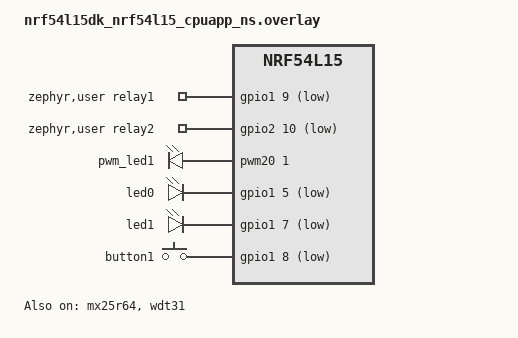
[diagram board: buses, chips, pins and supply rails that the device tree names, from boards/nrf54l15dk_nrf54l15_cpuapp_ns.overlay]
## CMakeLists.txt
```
#
# Copyright (c) 2021 Nordic Semiconductor ASA
#
# SPDX-License-Identifier: LicenseRef-Nordic-5-Clause
#

cmake_minimum_required(VERSION 3.20.0)

find_package(Zephyr HINTS $ENV{ZEPHYR_BASE})

project(matter-light-bulb)

# Enable GNU STD support.
include(${ZEPHYR_CONNECTEDHOMEIP_MODULE_DIR}/config/nrfconnect/app/enable-gnu-std.cmake)

# NORDIC SDK APP START

# Include all source files that are located in the Matter common directory.
include(${ZEPHYR_NRF_MODULE_DIR}/samples/matter/common/cmake/source_common.cmake)

# Include Data Model utils
include(${ZEPHYR_NRF_MODULE_DIR}/samples/matter/common/cmake/data_model.cmake)

include(${ZEPHYR_NRF_MODULE_DIR}/samples/matter/common/cmake/zap_helpers.cmake)
ncs_get_zap_parent_dir(ZAP_PARENT_DIR)

target_include_directories(app PRIVATE
    src
    ${ZAP_PARENT_DIR}
)

if(CONFIG_AWS_IOT_INTEGRATION)
    add_subdirectory(src/aws_iot_integration)
endif()

target_sources(app PRIVATE
    src/io_relay.cpp
    src/app_task.cpp
    src/main.cpp
    src/zcl_callbacks.cpp
    ${CHIP_ROOT}/src/app/util/persistence/DeferredAttributePersistenceProvider.cpp
)

if(CONFIG_APP_NETWORK_WATCHDOG)
    target_sources(app PRIVATE src/network_watchdog.cpp)
endif()

ncs_configure_data_model()
# NORDIC SDK APP END
```

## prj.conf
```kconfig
#
# Copyright (c) 2022 Nordic Semiconductor ASA
#
# SPDX-License-Identifier: LicenseRef-Nordic-5-Clause
#

# Enable CHIP
CONFIG_CHIP=y
CONFIG_CHIP_PROJECT_CONFIG="src/chip_project_config.h"

# Configure ZAP file name
CONFIG_NCS_SAMPLE_MATTER_ZAP_FILE_PATH="${APPLICATION_CONFIG_DIR}/src/default_zap/light_bulb.zap"

# 32772 == 0x8004 (lighting-app)
CONFIG_CHIP_DEVICE_PRODUCT_ID=32772
CONFIG_STD_CPP17=y

# Enable Matter pairing automatically on application start.
CONFIG_CHIP_ENABLE_PAIRING_AUTOSTART=y

# Enable Matter extended announcement and increase duration to 1 hour.
CONFIG_CHIP_BLE_EXT_ADVERTISING=y
CONFIG_CHIP_BLE_ADVERTISING_DURATION=60

# Add support for LEDs and buttons on Nordic development kits
CONFIG_DK_LIBRARY=y
CONFIG_PWM=n

# Enable logging for DK library (to see "Initializing LEDs" debug output)
CONFIG_LOG=y
CONFIG_DK_LIBRARY_LOG_LEVEL_INF=y

# Bluetooth Low Energy configuration
CONFIG_BT_DEVICE_NAME="MatterLight"

# Other settings
CONFIG_THREAD_NAME=y
CONFIG_MPU_STACK_GUARD=y
CONFIG_RESET_ON_FATAL_ERROR=n
CONFIG_CHIP_LIB_SHELL=y
CONFIG_NCS_SAMPLE_MATTER_TEST_SHELL=y

# Reduce application size
CONFIG_USE_SEGGER_RTT=n

# Enable Factory Data feature
CONFIG_CHIP_FACTORY_DATA=y
CONFIG_CHIP_FACTORY_DATA_BUILD=y

# Disable APPROTECT for development
CONFIG_NRF_APPROTECT_USE_UICR=n
# CONFIG_NRF_APPROTECT_LOCK is not set

CONFIG_CLOCK_CONTROL_NRF_K32SRC_RC=y

# Hardware watchdog: reset if Main/Matter threads hang or loop forever
CONFIG_NCS_SAMPLE_MATTER_WATCHDOG=y

# Software watchdog: reboot if commissioned device stays offline too long
CONFIG_APP_NETWORK_WATCHDOG=y
```

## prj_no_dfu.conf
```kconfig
#
# Copyright (c) 2022 Nordic Semiconductor ASA
#
# SPDX-License-Identifier: LicenseRef-Nordic-5-Clause
#

# Enable CHIP
CONFIG_CHIP=y
CONFIG_CHIP_PROJECT_CONFIG="src/chip_project_config.h"

# Configure ZAP file name
CONFIG_NCS_SAMPLE_MATTER_ZAP_FILE_PATH="${APPLICATION_CONFIG_DIR}/src/default_zap/light_bulb.zap"

# 32773 == 0x8005 (example lighting-app)
CONFIG_CHIP_DEVICE_PRODUCT_ID=32773
CONFIG_STD_CPP17=y

# Enable Matter pairing automatically on application start.
CONFIG_CHIP_ENABLE_PAIRING_AUTOSTART=y

# Enable Matter extended announcement and increase duration to 1 hour.
CONFIG_CHIP_BLE_EXT_ADVERTISING=y
CONFIG_CHIP_BLE_ADVERTISING_DURATION=60

# Add support for LEDs and buttons on Nordic development kits
CONFIG_DK_LIBRARY=y
CONFIG_PWM=y

# Bluetooth Low Energy configuration
CONFIG_BT_DEVICE_NAME="MatterLight"

# Other settings
CONFIG_THREAD_NAME=y
CONFIG_MPU_STACK_GUARD=y
CONFIG_RESET_ON_FATAL_ERROR=n
CONFIG_CHIP_LIB_SHELL=y
CONFIG_NCS_SAMPLE_MATTER_TEST_SHELL=y

# Reduce application size
CONFIG_USE_SEGGER_RTT=n

# Enable Factory Data feature
CONFIG_CHIP_FACTORY_DATA=y
CONFIG_CHIP_FACTORY_DATA_BUILD=y

# Disable Matter OTA DFU
CONFIG_CHIP_OTA_REQUESTOR=n

# Disable QSPI NOR
CONFIG_CHIP_QSPI_NOR=n

# Reduce application size
CONFIG_USE_SEGGER_RTT=n
CONFIG_CLOCK_CONTROL_NRF_K32SRC_RC=n

# Disable APPROTECT for development
CONFIG_NRF_APPROTECT_USE_UICR=n
# CONFIG_NRF_APPROTECT_LOCK is not set
```

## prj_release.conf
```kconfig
#
# Copyright (c) 2022 Nordic Semiconductor ASA
#
# SPDX-License-Identifier: LicenseRef-Nordic-5-Clause
#

# Enable CHIP
CONFIG_CHIP=y
CONFIG_CHIP_PROJECT_CONFIG="src/chip_project_config.h"

# Configure ZAP file name
CONFIG_NCS_SAMPLE_MATTER_ZAP_FILE_PATH="${APPLICATION_CONFIG_DIR}/src/default_zap/light_bulb.zap"

# 32773 == 0x8005 (example lighting-app)
CONFIG_CHIP_DEVICE_PRODUCT_ID=32773
CONFIG_STD_CPP17=y

# Enable Matter pairing automatically on application start.
CONFIG_CHIP_ENABLE_PAIRING_AUTOSTART=y

# Enable Matter extended announcement and increase duration to 1 hour.
CONFIG_CHIP_BLE_EXT_ADVERTISING=y
CONFIG_CHIP_BLE_ADVERTISING_DURATION=60

# Add support for LEDs and buttons on Nordic development kits
CONFIG_DK_LIBRARY=y
CONFIG_PWM=y

# Bluetooth Low Energy configuration
CONFIG_BT_DEVICE_NAME="MatterLight"

# Enable system reset on fatal error
CONFIG_RESET_ON_FATAL_ERROR=y

# Disable all debug features
CONFIG_USE_SEGGER_RTT=n
CONFIG_SHELL=n
CONFIG_OPENTHREAD_SHELL=n
CONFIG_CONSOLE=n
CONFIG_UART_CONSOLE=n
CONFIG_SERIAL=n
CONFIG_LOG=n
CONFIG_LOG_MODE_MINIMAL=n
CONFIG_ASSERT_VERBOSE=n
CONFIG_ASSERT_NO_FILE_INFO=y
CONFIG_PRINTK=n
CONFIG_PRINTK_SYNC=n
CONFIG_THREAD_NAME=n
CONFIG_BOOT_BANNER=n

# Enable Factory Data feature
CONFIG_CHIP_FACTORY_DATA=y
CONFIG_CHIP_FACTORY_DATA_BUILD=y

# Hardware watchdog: reset if Main/Matter threads hang or loop forever
CONFIG_NCS_SAMPLE_MATTER_WATCHDOG=y

# Software watchdog: reboot if commissioned device stays offline too long
CONFIG_APP_NETWORK_WATCHDOG=y

# Enable LTO to decrease the flash usage.
CONFIG_LTO=y
CONFIG_ISR_TABLES_LOCAL_DECLARATION=y
```

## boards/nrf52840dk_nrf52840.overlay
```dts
/*
 * Copyright (c) 2021-2022 Nordic Semiconductor ASA
 *
 * SPDX-License-Identifier: LicenseRef-Nordic-5-Clause
 */

/ {
	chosen {
		nordic,pm-ext-flash = &mx25r64;
	};

		/*
	* In some default configurations within the nRF Connect SDK,
	* e.g. on nRF52840, the chosen zephyr,entropy node is &cryptocell.
	* This devicetree overlay ensures that default is overridden wherever it
	* is set, as this application uses the RNG node for entropy exclusively.
	*/

	chosen {
		zephyr,entropy = &rng;
	};


	/*
	* By default, PWM module is only configured for led0 (LED1 on the board).
	* The light bulb app, however, uses LED2 to show the state of the lighting,
	* including its brightness level.
	*/
	aliases {
		pwm-led1 = &pwm_led1;
	};

	/* Relay control pins - use zephyr,user node for custom GPIO configuration */
	zephyr,user {
		relay1-gpios = <&gpio0 22 GPIO_ACTIVE_HIGH>;
		relay2-gpios = <&gpio0 24 GPIO_ACTIVE_HIGH>;
	};

	pwmleds {
		pwm_led1: pwm_led_1 {
			pwms = <&pwm0 1 PWM_MSEC(100) PWM_POLARITY_NORMAL>;
		};
	};

};

&pwm0 {
	pinctrl-0 = <&pwm0_default_alt>;
	pinctrl-1 = <&pwm0_sleep_alt>;
	pinctrl-names = "default", "sleep";
};

&pinctrl {
	pwm0_default_alt: pwm0_default_alt {
		group1 {
			psels = <NRF_PSEL(PWM_OUT1, 0, 6)>;
			nordic,invert;
		};
	};

	pwm0_sleep_alt: pwm0_sleep_alt {
		group1 {
			psels = <NRF_PSEL(PWM_OUT1, 0, 6)>;
			low-power-enable;
		};
	};

};

/* Disable unused peripherals to reduce power consumption */
&adc {
	status = "disabled";
};
&uart1 {
	status = "disabled";
};
&i2c0 {
	status = "disabled";
};
&spi1 {
	status = "disabled";
};
&spi3 {
	status = "disabled";
};
&usbd {
	status = "disabled";
};

&uart0 {
	current-speed = <115200>;
};

&led0 {
	gpios = <&gpio1 6 GPIO_ACTIVE_LOW>;
};
&led1 {
	gpios = <&gpio0 6 GPIO_ACTIVE_LOW>;
};
/* Disable led2 and led3 since they are now used as relay control pins */
&led2 {
	status = "disabled";
};

&led3 {
	status = "disabled";
};

&button0 {
	gpios = <&gpio1 4 GPIO_ACTIVE_LOW>;
	status = "okay";
};
```

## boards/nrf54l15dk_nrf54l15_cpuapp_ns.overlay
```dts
/*
 * Copyright (c) 2024 Nordic Semiconductor ASA
 *
 * SPDX-License-Identifier: LicenseRef-Nordic-5-Clause
 */

 / {
	aliases {
		// Configure PWM module for led1 (LED2 on the board)
		pwm-led1 = &pwm_led1;

		// Use watchdog wdt31 as the application watchdog
		watchdog0 = &wdt31;
	};

	chosen {
		nordic,pm-ext-flash = &mx25r64;
	};

	/* Relay control pins - use zephyr,user node for custom GPIO configuration */
	zephyr,user {
		relay1-gpios = <&gpio1 9 GPIO_ACTIVE_LOW>;
		relay2-gpios = <&gpio2 10 GPIO_ACTIVE_LOW>;
	};

	pwmleds {
		compatible = "pwm-leds";
		pwm_led1: pwm_led_1 {
			pwms = <&pwm20 1 PWM_MSEC(20) PWM_POLARITY_NORMAL>;
		};
	};
};

// restore full RRAM and SRAM space - by default some parts are dedicated to FLRP
&cpuapp_rram {
	reg = <0x0 DT_SIZE_K(1524)>;
};

&cpuapp_sram {
	reg = <0x20000000 DT_SIZE_K(256)>;
	ranges = <0x0 0x20000000  0x40000>;
};

// TODO: re-enable HWFC once it's fixed
&uart20 {
	/delete-property/ hw-flow-control;
};

&mx25r64 {
	status = "okay";
};

&pwm20 {
	status = "disabled";
	pinctrl-0 = <&pwm_default>;
	pinctrl-1 = <&pwm_sleep>;
	pinctrl-names = "default", "sleep";
};

&pinctrl {
	pwm_default: pwm_default {
		group1 {
			psels = <NRF_PSEL(PWM_OUT1, 1, 10)>;
		};
	};
	pwm_sleep: pwm_sleep {
		group1 {
			psels = <NRF_PSEL(PWM_OUT1, 1, 10)>;
			low-power-enable;
		};
	};

	uart20_default: uart20_default {
		group1 {
			psels = <NRF_PSEL(UART_TX, 1, 4)>;
		};

		group2 {
			psels = <NRF_PSEL(UART_RX, 1, 5)>;
			bias-pull-up;
		};
	};

	uart20_sleep: uart20_sleep {
		group1 {
			psels = <NRF_PSEL(UART_TX, 1, 4)>,
				<NRF_PSEL(UART_RX, 1, 5)>;
			low-power-enable;
		};
	};
};

&wdt31 {
	status = "okay";
};

// Change IRQ ids to handle button interrupts.

// The default values for nRF54L15 are 219 and 269,
// but with TF-M they are reserved for the secure domain
// (218 and 268 are reserved for the non-secure domain).
&gpiote20 {
	interrupts = <218 NRF_DEFAULT_IRQ_PRIORITY>;
};

&gpiote30 {
	interrupts = <268 NRF_DEFAULT_IRQ_PRIORITY>;
};

&clock {
	status = "okay";
};


&led0 {
	gpios = <&gpio1 5 GPIO_ACTIVE_LOW>;
};
&led1 {
	gpios = <&gpio1 7 GPIO_ACTIVE_LOW>;
};
/* Disable led2 and led3 since they are now used as relay control pins */
&led2 {
	status = "disabled";
};

&led3 {
	status = "disabled";
};

&button1 {
	gpios = <&gpio1 8 GPIO_ACTIVE_LOW>;
	status = "okay";
};

&button2{
	status = "disabled";
};

&button3 {
	status = "disabled";
};
```

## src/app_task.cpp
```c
/*
 * Copyright (c) 2021 Nordic Semiconductor ASA
 *
 * SPDX-License-Identifier: LicenseRef-Nordic-5-Clause
 */

#include "app_task.h"

#ifdef CONFIG_AWS_IOT_INTEGRATION
#include "aws_iot_integration.h"
#endif

#include "app/matter_init.h"
#include "app/task_executor.h"

#if defined(CONFIG_PWM)
#include "pwm/pwm_device.h"
#endif

#include <app-common/zap-generated/attributes/Accessors.h>
#include <app/clusters/identify-server/identify-server.h>
#include <app/server/Server.h>
#include <app/util/persistence/DefaultAttributePersistenceProvider.h>
#include <app/util/persistence/DeferredAttributePersistenceProvider.h>
#include <setup_payload/OnboardingCodesUtil.h>

#include <zephyr/logging/log.h>

LOG_MODULE_DECLARE(app, CONFIG_CHIP_APP_LOG_LEVEL);

using namespace ::chip;
using namespace ::chip::app;
using namespace ::chip::DeviceLayer;

namespace
{
constexpr EndpointId kLightEndpointId = 1;
constexpr uint8_t kDefaultMinLevel = 0;
constexpr uint8_t kDefaultMaxLevel = 254;
constexpr uint16_t kTriggerEffectTimeout = 5000;
constexpr uint16_t kTriggerEffectFinishTimeout = 1000;

k_timer sTriggerEffectTimer;

Identify sIdentify = { kLightEndpointId, AppTask::IdentifyStartHandler, AppTask::IdentifyStopHandler,
		       Clusters::Identify::IdentifyTypeEnum::kVisibleIndicator, AppTask::TriggerIdentifyEffectHandler };

bool sIsTriggerEffectActive = false;

#if defined(CONFIG_PWM)
const struct pwm_dt_spec sLightPwmDevice = PWM_DT_SPEC_GET(DT_ALIAS(pwm_led1));
#endif

// Define a custom attribute persister which makes actual write of the CurrentLevel attribute value
// to the non-volatile storage only when it has remained constant for 5 seconds. This is to reduce
// the flash wearout when the attribute changes frequently as a result of MoveToLevel command.
// DeferredAttribute object describes a deferred attribute, but also holds a buffer with a value to
// be written, so it must live so long as the DeferredAttributePersistenceProvider object.
DeferredAttribute gCurrentLevelPersister(ConcreteAttributePath(kLightEndpointId, Clusters::LevelControl::Id,
							       Clusters::LevelControl::Attributes::CurrentLevel::Id));

// Deferred persistence will be auto-initialized as soon as the default persistence is initialized
DefaultAttributePersistenceProvider gSimpleAttributePersistence;
DeferredAttributePersistenceProvider gDeferredAttributePersister(gSimpleAttributePersistence,
								 Span<DeferredAttribute>(&gCurrentLevelPersister, 1),
								 System::Clock::Milliseconds32(5000));

#define APPLICATION_BUTTON_MASK DK_BTN2_MSK
} /* namespace */

void AppTask::IdentifyStartHandler(Identify *)
{
	Nrf::PostTask(
		[] { Nrf::GetBoard().GetLED(Nrf::DeviceLeds::LED2).Blink(Nrf::LedConsts::kIdentifyBlinkRate_ms); });
}

void AppTask::IdentifyStopHandler(Identify *)
{
	Nrf::PostTask([] {
		Nrf::GetBoard().GetLED(Nrf::DeviceLeds::LED2).Set(false);

#if defined(CONFIG_PWM)
		Instance().mPWMDevice.ApplyLevel();
#endif
	});
}

void AppTask::TriggerEffectTimerTimeoutCallback(k_timer *timer)
{
	LOG_INF("Identify effect completed");

	sIsTriggerEffectActive = false;

	Nrf::GetBoard().GetLED(Nrf::DeviceLeds::LED2).Set(false);

#if defined(CONFIG_PWM)
	Instance().mPWMDevice.ApplyLevel();
#endif
}

void AppTask::TriggerIdentifyEffectHandler(Identify *identify)
{
	switch (identify->mCurrentEffectIdentifier) {
	/* Just handle all effects in the same way. */
	case Clusters::Identify::EffectIdentifierEnum::kBlink:
	case Clusters::Identify::EffectIdentifierEnum::kBreathe:
	case Clusters::Identify::EffectIdentifierEnum::kOkay:
	case Clusters::Identify::EffectIdentifierEnum::kChannelChange:
		LOG_INF("Identify effect identifier changed to %d",
			static_cast<uint8_t>(identify->mCurrentEffectIdentifier));

		sIsTriggerEffectActive = false;

		k_timer_stop(&sTriggerEffectTimer);
		k_timer_start(&sTriggerEffectTimer, K_MSEC(kTriggerEffectTimeout), K_NO_WAIT);

#if defined(CONFIG_PWM)
		Instance().mPWMDevice.SuppressOutput();
#endif
		Nrf::GetBoard().GetLED(Nrf::DeviceLeds::LED2).Blink(Nrf::LedConsts::kIdentifyBlinkRate_ms);

		break;
	case Clusters::Identify::EffectIdentifierEnum::kFinishEffect:
		LOG_INF("Identify effect finish triggered");
		k_timer_stop(&sTriggerEffectTimer);
		k_timer_start(&sTriggerEffectTimer, K_MSEC(kTriggerEffectFinishTimeout), K_NO_WAIT);
		break;
	case Clusters::Identify::EffectIdentifierEnum::kStopEffect:
		if (sIsTriggerEffectActive) {
			sIsTriggerEffectActive = false;

			k_timer_stop(&sTriggerEffectTimer);

			Nrf::GetBoard().GetLED(Nrf::DeviceLeds::LED2).Set(false);

#if defined(CONFIG_PWM)
			Instance().mPWMDevice.ApplyLevel();
#endif
		}
		break;
	default:
		LOG_ERR("Received invalid effect identifier.");
		break;
	}
}

void AppTask::LightingActionEventHandler(const LightingEvent &event)
{
#if defined(CONFIG_PWM)
	Nrf::PWMDevice::Action_t action = Nrf::PWMDevice::INVALID_ACTION;
	int32_t actor = 0;
	if (event.Actor == LightingActor::Button) {
		action = Instance().mPWMDevice.IsTurnedOn() ? Nrf::PWMDevice::OFF_ACTION : Nrf::PWMDevice::ON_ACTION;
		actor = static_cast<int32_t>(event.Actor);
	}

	if (action == Nrf::PWMDevice::INVALID_ACTION || !Instance().mPWMDevice.InitiateAction(action, actor, NULL)) {
		LOG_INF("An action could not be initiated.");
	}
#else
	IO_Relay::Action_t action = IO_Relay::INVALID_ACTION;
	int32_t actor = 0;
	if (event.Actor == LightingActor::Button) {
		action = Instance().mIO_RelayDevice.IsTurnedOn() ? IO_Relay::OFF_ACTION : IO_Relay::ON_ACTION;
		actor = static_cast<int32_t>(event.Actor);
	}

	if (action == IO_Relay::INVALID_ACTION || !Instance().mIO_RelayDevice.InitiateAction(action, actor, NULL)) {
		LOG_INF("An action could not be initiated.");
	}
#endif
}

void AppTask::ButtonEventHandler(Nrf::ButtonState state, Nrf::ButtonMask hasChanged)
{
	static int64_t buttonPressedTime = 0;

	// check if the button is pressed
	if ((APPLICATION_BUTTON_MASK & hasChanged) & state) {
		// record the time when the button is pressed
		buttonPressedTime = k_uptime_get();
	}
	// check if the button is released
	else if ((APPLICATION_BUTTON_MASK & hasChanged) & ~state) {
		int64_t now = k_uptime_get();
		if (buttonPressedTime > 0 && (now - buttonPressedTime) >= 5000) { // long press for more than 5 seconds, reset the factory
			LOG_INF("Factory Reset triggered by long button press");
			chip::Server::GetInstance().ScheduleFactoryReset();
		} else if (buttonPressedTime > 0) { // short press, toggle the light state
			Nrf::PostTask([] {
				LightingEvent event;
				event.Actor = LightingActor::Button;
				LightingActionEventHandler(event);
			});
		}
		buttonPressedTime = 0;
	}
}

#ifdef CONFIG_AWS_IOT_INTEGRATION
bool AppTask::AWSIntegrationCallback(struct aws_iot_integration_cb_data *data)
{
	LOG_INF("Attribute change requested from AWS IoT: %d", data->value);

	Protocols::InteractionModel::Status status;

	VerifyOrDie(data->error == 0);

	if (data->attribute_id == ATTRIBUTE_ID_ONOFF) {
		/* write the new on/off value */
		status = Clusters::OnOff::Attributes::OnOff::Set(kLightEndpointId, data->value);
		if (status != Protocols::InteractionModel::Status::Success) {
			LOG_ERR("Updating on/off cluster failed: %x", to_underlying(status));
			return false;
		}
	} else if (data->attribute_id == ATTRIBUTE_ID_LEVEL_CONTROL) {
		/* write the current level */
		status = Clusters::LevelControl::Attributes::CurrentLevel::Set(kLightEndpointId, data->value);

		if (status != Protocols::InteractionModel::Status::Success) {
			LOG_ERR("Updating level cluster failed: %x", to_underlying(status));
			return false;
		}
	}

	return true;
}
#endif /* CONFIG_AWS_IOT_INTEGRATION */

#if defined(CONFIG_PWM)
void AppTask::ActionInitiated(Nrf::PWMDevice::Action_t action, int32_t actor)
{
	if (action == Nrf::PWMDevice::ON_ACTION) {
		LOG_INF("Turn On Action has been initiated");
	} else if (action == Nrf::PWMDevice::OFF_ACTION) {
		LOG_INF("Turn Off Action has been initiated");
	} else if (action == Nrf::PWMDevice::LEVEL_ACTION) {
		LOG_INF("Level Action has been initiated");
	}
}

void AppTask::ActionCompleted(Nrf::PWMDevice::Action_t action, int32_t actor)
{
	if (action == Nrf::PWMDevice::ON_ACTION) {
		LOG_INF("Turn On Action has been completed");
	} else if (action == Nrf::PWMDevice::OFF_ACTION) {
		LOG_INF("Turn Off Action has been completed");
	} else if (action == Nrf::PWMDevice::LEVEL_ACTION) {
		LOG_INF("Level Action has been completed");
	}

	if (actor == static_cast<int32_t>(LightingActor::Button)) {
		Instance().UpdateClusterState();
	}
}
#endif /* CONFIG_PWM */

void AppTask::UpdateClusterState()
{
	SystemLayer().ScheduleLambda([this] {
#if defined(CONFIG_PWM)
		/* write the new on/off value */
		Protocols::InteractionModel::Status status =
			Clusters::OnOff::Attributes::OnOff::Set(kLightEndpointId, mPWMDevice.IsTurnedOn());
#else
		Protocols::InteractionModel::Status status =
		Clusters::OnOff::Attributes::OnOff::Set(kLightEndpointId, mIO_RelayDevice.IsTurnedOn());
#endif
		if (status != Protocols::InteractionModel::Status::Success) {
			LOG_ERR("Updating on/off cluster failed: %x", to_underlying(status));
		}

#if defined(CONFIG_PWM)
		/* write the current level */
		status = Clusters::LevelControl::Attributes::CurrentLevel::Set(kLightEndpointId, mPWMDevice.GetLevel());
#endif

		if (status != Protocols::InteractionModel::Status::Success) {
			LOG_ERR("Updating level cluster failed: %x", to_underlying(status));
		}
	});
}

void AppTask::InitPWMDDevice()
{
#if defined(CONFIG_PWM)
	/* Initialize lighting device (PWM) */
	uint8_t minLightLevel = kDefaultMinLevel;
	Clusters::LevelControl::Attributes::MinLevel::Get(kLightEndpointId, &minLightLevel);

	uint8_t maxLightLevel = kDefaultMaxLevel;
	Clusters::LevelControl::Attributes::MaxLevel::Get(kLightEndpointId, &maxLightLevel);

	Clusters::LevelControl::Attributes::CurrentLevel::TypeInfo::Type currentLevel;
	Clusters::LevelControl::Attributes::CurrentLevel::Get(kLightEndpointId, currentLevel);

	int ret =
		mPWMDevice.Init(&sLightPwmDevice, minLightLevel, maxLightLevel, currentLevel.ValueOr(kDefaultMaxLevel));
	if (ret != 0) {
		LOG_ERR("Failed to initialize PWD device.");
	}

	mPWMDevice.SetCallbacks(ActionInitiated, ActionCompleted);
#endif
}

CHIP_ERROR AppTask::Init()
{
	/* Initialize Matter stack */
	ReturnErrorOnFailure(Nrf::Matter::PrepareServer(Nrf::Matter::InitData{ .mPostServerInitClbk = []() {
		app::SetAttributePersistenceProvider(&gDeferredAttributePersister);
		gSimpleAttributePersistence.Init(Nrf::Matter::GetPersistentStorageDelegate());
		return CHIP_NO_ERROR;
	} }));

	if (!Nrf::GetBoard().Init(ButtonEventHandler)) {
		LOG_ERR("User interface initialization failed.");
		return CHIP_ERROR_INCORRECT_STATE;
	}

	/* Register Matter event handler that controls the connectivity status LED based on the captured Matter network
	 * state. */
	ReturnErrorOnFailure(Nrf::Matter::RegisterEventHandler(Nrf::Board::DefaultMatterEventHandler, 0));

#ifdef CONFIG_AWS_IOT_INTEGRATION
	int retAws = aws_iot_integration_register_callback(AWSIntegrationCallback);
	if (retAws) {
		LOG_ERR("aws_iot_integration_register_callback() failed");
		return chip::System::MapErrorZephyr(retAws);
	}
#endif

	/* Initialize trigger effect timer */
	k_timer_init(&sTriggerEffectTimer, &AppTask::TriggerEffectTimerTimeoutCallback, nullptr);

	return Nrf::Matter::StartServer();
}

CHIP_ERROR AppTask::StartApp()
{
	ReturnErrorOnFailure(Init());

	while (true) {
		Nrf::DispatchNextTask();
	}

	return CHIP_NO_ERROR;
}

BootReasonType AppTask::ResetReasonGet(void)
{
    BootReasonType bootReason;

    DiagnosticDataProviderImplNrf::GetDefaultInstance().GetBootReason(bootReason);


    return bootReason; 
}
```

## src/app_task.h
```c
/*
 * Copyright (c) 2021 Nordic Semiconductor ASA
 *
 * SPDX-License-Identifier: LicenseRef-Nordic-5-Clause
 */

#pragma once

#include "board/board.h"
#include "pwm/pwm_device.h"

#include <platform/CHIPDeviceLayer.h>
#include "io_relay.h"

#include <platform/DiagnosticDataProvider.h>
#include <platform/nrfconnect/DiagnosticDataProviderImplNrf.h>
#include <platform/Zephyr/DiagnosticDataProviderImpl.h>


struct k_timer;
struct Identify;

using BootReasonType = chip::DeviceLayer::BootReasonType;

enum class LightingActor : uint8_t { Remote, Button };

struct LightingEvent {
	uint8_t Action;
	LightingActor Actor;
};

class AppTask {
public:
	static AppTask &Instance()
	{
		static AppTask sAppTask;
		return sAppTask;
	};

	CHIP_ERROR StartApp();

	void UpdateClusterState();
	void InitPWMDDevice();
	Nrf::PWMDevice &GetPWMDevice() { return mPWMDevice; }
	IO_Relay &GetRelayDevice() { return mIO_RelayDevice; }
    BootReasonType ResetReasonGet(void);

	static void IdentifyStartHandler(Identify *);
	static void IdentifyStopHandler(Identify *);
	static void TriggerIdentifyEffectHandler(Identify *);
	static void TriggerEffectTimerTimeoutCallback(k_timer *timer);

private:
	CHIP_ERROR Init();

	static void LightingActionEventHandler(const LightingEvent &event);
	static void ButtonEventHandler(Nrf::ButtonState state, Nrf::ButtonMask hasChanged);

	static void ActionInitiated(Nrf::PWMDevice::Action_t action, int32_t actor);
	static void ActionCompleted(Nrf::PWMDevice::Action_t action, int32_t actor);

#ifdef CONFIG_AWS_IOT_INTEGRATION
	static bool AWSIntegrationCallback(struct aws_iot_integration_cb_data *data);
#endif
	IO_Relay mIO_RelayDevice;
	Nrf::PWMDevice mPWMDevice;
};
```

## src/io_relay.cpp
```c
/*
 * Copyright (c) 2018 Nordic Semiconductor ASA
 *
 * SPDX-License-Identifier: Apache-2.0
 */
#include <stdio.h>
#include <stdlib.h>
#include <ctype.h>

#ifdef CONFIG_ARCH_POSIX
#include <unistd.h>
#else
#include <zephyr/posix/unistd.h>
#endif

#include <zephyr/logging/log.h>
#include <zephyr/kernel.h>

#include "io_relay.h"


LOG_MODULE_REGISTER(io_ctrl);





bool IO_Relay::InitiateAction(Action_t aAction, int32_t aActor, uint8_t *aValue)
{
	/* TODO: this function is called InitiateAction because we want to implement some features such as ramping up
	 * here. */
	bool action_initiated = false;
	State_t new_state;

	/* Initiate On/Off Action only when the previous one is complete. */
	if (mState == kState_Off && aAction == ON_ACTION) {
		action_initiated = true;
		new_state = kState_On;
	} else if (mState == kState_On && aAction == OFF_ACTION) {
		action_initiated = true;
		new_state = kState_Off;
	}

	if (action_initiated) {
		if (mActionInitiatedClb) {
			mActionInitiatedClb(aAction, aActor);
		}

		/* Execute the action */
		if (aAction == ON_ACTION || aAction == OFF_ACTION) {
			Set(0, 0, new_state == kState_On ? ON_ACTION : OFF_ACTION);
			mState = new_state;
		}

		if (mActionCompletedClb) {
			mActionCompletedClb(aAction, aActor);
		}
	}

	return action_initiated;
}

int IO_Relay::Set(int slot, int chl, Action_t aAction)
{
	ARG_UNUSED(slot);
	ARG_UNUSED(chl);

	if (aAction == ON_ACTION) {
		gpio_pin_set_dt(&mRelay1, 1);
		gpio_pin_set_dt(&mRelay2, 0);

		k_msleep(500);

		gpio_pin_set_dt(&mRelay1, 1);
		gpio_pin_set_dt(&mRelay2, 1);

	} else {
		gpio_pin_set_dt(&mRelay1, 0);
		gpio_pin_set_dt(&mRelay2, 1);

		k_msleep(500);

		gpio_pin_set_dt(&mRelay1, 0);
		gpio_pin_set_dt(&mRelay2, 0);
	}

	return 0;
}
```

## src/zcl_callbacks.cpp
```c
/*
 * Copyright (c) 2021 Nordic Semiconductor ASA
 *
 * SPDX-License-Identifier: LicenseRef-Nordic-5-Clause
 */

#include <lib/support/logging/CHIPLogging.h>

#include "app_task.h"

#ifdef CONFIG_AWS_IOT_INTEGRATION
#include "aws_iot_integration.h"
#endif

#include <app-common/zap-generated/attributes/Accessors.h>
#include <app-common/zap-generated/ids/Attributes.h>
#include <app-common/zap-generated/ids/Clusters.h>
#include <app/ConcreteAttributePath.h>

using namespace ::chip;
using namespace ::chip::app::Clusters;
using namespace ::chip::app::Clusters::OnOff;

void MatterPostAttributeChangeCallback(const chip::app::ConcreteAttributePath &attributePath, uint8_t type,
				       uint16_t size, uint8_t *value)
{
	ClusterId clusterId = attributePath.mClusterId;
	AttributeId attributeId = attributePath.mAttributeId;

	if (clusterId == OnOff::Id && attributeId == OnOff::Attributes::OnOff::Id) {
		ChipLogProgress(Zcl, "Cluster OnOff: attribute OnOff set to %" PRIu8 "", *value);

#if defined(CONFIG_PWM)
		AppTask::Instance().GetPWMDevice().InitiateAction(*value ? Nrf::PWMDevice::ON_ACTION :
									   Nrf::PWMDevice::OFF_ACTION,
								  static_cast<int32_t>(LightingActor::Remote), value);
#else
		AppTask::Instance().GetRelayDevice().Set(0, 0, *value ? IO_Relay::ON_ACTION : IO_Relay::OFF_ACTION);
#endif

#ifdef CONFIG_AWS_IOT_INTEGRATION
		aws_iot_integration_attribute_set(ATTRIBUTE_ID_ONOFF, *value);
#endif

	} else if (clusterId == LevelControl::Id && attributeId == LevelControl::Attributes::CurrentLevel::Id) {
		ChipLogProgress(Zcl, "Cluster LevelControl: attribute CurrentLevel set to %" PRIu8 "", *value);
#if defined(CONFIG_PWM)
		if (AppTask::Instance().GetPWMDevice().IsTurnedOn()) {
			AppTask::Instance().GetPWMDevice().InitiateAction(
				Nrf::PWMDevice::LEVEL_ACTION, static_cast<int32_t>(LightingActor::Remote), value);
		} else {
			ChipLogDetail(Zcl, "LED is off. Try to use move-to-level-with-on-off instead of move-to-level");
		}
#endif

#ifdef CONFIG_AWS_IOT_INTEGRATION
		aws_iot_integration_attribute_set(ATTRIBUTE_ID_LEVEL_CONTROL, *value);
#endif
	}
}

/** @brief OnOff Cluster Init
 *
 * This function is called when a specific cluster is initialized. It gives the
 * application an opportunity to take care of cluster initialization procedures.
 * It is called exactly once for each endpoint where cluster is present.
 *
 * @param endpoint   Ver.: always
 *
 * TODO Issue #3841
 * emberAfOnOffClusterInitCallback happens before the stack initialize the cluster
 * attributes to the default value.
 * The logic here expects something similar to the deprecated Plugins callback
 * emberAfPluginOnOffClusterServerPostInitCallback.
 *
 */
void emberAfOnOffClusterInitCallback(EndpointId endpoint)
{
	Protocols::InteractionModel::Status status;
	BootReasonType reset_reason;
	bool storedValue;

    reset_reason = AppTask::Instance().ResetReasonGet();
    
    if(reset_reason == BootReasonType::kPowerOnReboot){
#if defined(CONFIG_PWM)
		AppTask::Instance().InitPWMDDevice();
		AppTask::Instance().GetPWMDevice().InitiateAction(
			Nrf::PWMDevice::ON_ACTION,
			static_cast<int32_t>(LightingActor::Remote), reinterpret_cast<uint8_t *>(&storedValue));
#else
		AppTask::Instance().GetRelayDevice().Init(false);
        AppTask::Instance().GetRelayDevice().InitiateAction(
			IO_Relay::ON_ACTION, 
			static_cast<int32_t>(LightingActor::Remote), reinterpret_cast<uint8_t *>(&storedValue));
#endif

    }
	else{
		/* Read storedValue on/off value */
		status = Attributes::OnOff::Get(endpoint, &storedValue);

		if (status == Protocols::InteractionModel::Status::Success) {
			/* Set actual state to the cluster state that was last persisted */
#if defined(CONFIG_PWM)
			AppTask::Instance().InitPWMDDevice();

			AppTask::Instance().GetPWMDevice().InitiateAction(
				storedValue ? Nrf::PWMDevice::ON_ACTION : Nrf::PWMDevice::OFF_ACTION,
				static_cast<int32_t>(LightingActor::Remote), reinterpret_cast<uint8_t *>(&storedValue));
#else
        AppTask::Instance().GetRelayDevice().InitiateAction(
			storedValue ? IO_Relay::ON_ACTION : IO_Relay::OFF_ACTION, 
			static_cast<int32_t>(LightingActor::Remote), reinterpret_cast<uint8_t *>(&storedValue));
#endif
		}
	}
	AppTask::Instance().UpdateClusterState();
}
```
